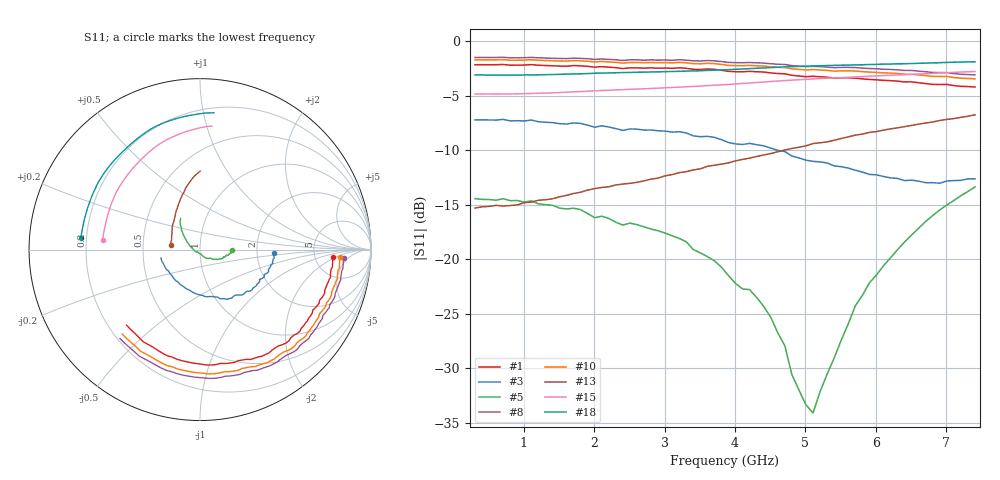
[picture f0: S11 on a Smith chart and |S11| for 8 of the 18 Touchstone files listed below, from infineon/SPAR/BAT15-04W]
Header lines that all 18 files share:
! Infineon Technologies  Discrete & RF Semiconductors
! BAT15-04W-E6327
! One-Port S-Parameters
# Hz  S  MA  R  50
!f  S11
!Hz  Mag  Ang
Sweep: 309.9 MHz to 7.406 GHz
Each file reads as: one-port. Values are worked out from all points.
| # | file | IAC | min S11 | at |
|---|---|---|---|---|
| 1 | BAT15-04W_IAC_0.1mA.s1p | 0.1 mA | -4.2 dB | 7.406 GHz |
| 2 | BAT15-04W_IAC_0.2mA.s1p | 0.2 mA | -8.3 dB | 7.406 GHz |
| 3 | BAT15-04W_IAC_0.3mA.s1p | 0.3 mA | -13.0 dB | 6.907 GHz |
| 4 | BAT15-04W_IAC_0.4mA.s1p | 0.4 mA | -19.3 dB | 5.907 GHz |
| 5 | BAT15-04W_IAC_0.5mA.s1p | 0.5 mA | -34.1 dB | 5.107 GHz |
| 6 | BAT15-04W_IAC_0.6mA.s1p | 0.6 mA | -30.9 dB | 3.708 GHz |
| 7 | BAT15-04W_IAC_0.7mA.s1p | 0.7 mA | -35.5 dB | 309.9 MHz |
| 8 | BAT15-04W_IAC_0.07mA.s1p | 0.07 mA | -3.1 dB | 7.406 GHz |
| 9 | BAT15-04W_IAC_0.8mA.s1p | 0.8 mA | -24.4 dB | 309.9 MHz |
| 10 | BAT15-04W_IAC_0.08mA.s1p | 0.08 mA | -3.5 dB | 7.406 GHz |
| 11 | BAT15-04W_IAC_0.9mA.s1p | 0.9 mA | -18.4 dB | 309.9 MHz |
| 12 | BAT15-04W_IAC_0.09mA.s1p | 0.09 mA | -3.8 dB | 7.406 GHz |
| 13 | BAT15-04W_IAC_1mA.s1p | 1 mA | -15.3 dB | 309.9 MHz |
| 14 | BAT15-04W_IAC_2mA.s1p | 2 mA | -6.8 dB | 309.9 MHz |
| 15 | BAT15-04W_IAC_3mA.s1p | 3 mA | -4.9 dB | 509.8 MHz |
| 16 | BAT15-04W_IAC_4mA.s1p | 4 mA | -4.0 dB | 709.6 MHz |
| 17 | BAT15-04W_IAC_5mA.s1p | 5 mA | -3.5 dB | 709.6 MHz |
| 18 | BAT15-04W_IAC_6mA.s1p | 6 mA | -3.1 dB | 709.6 MHz |
